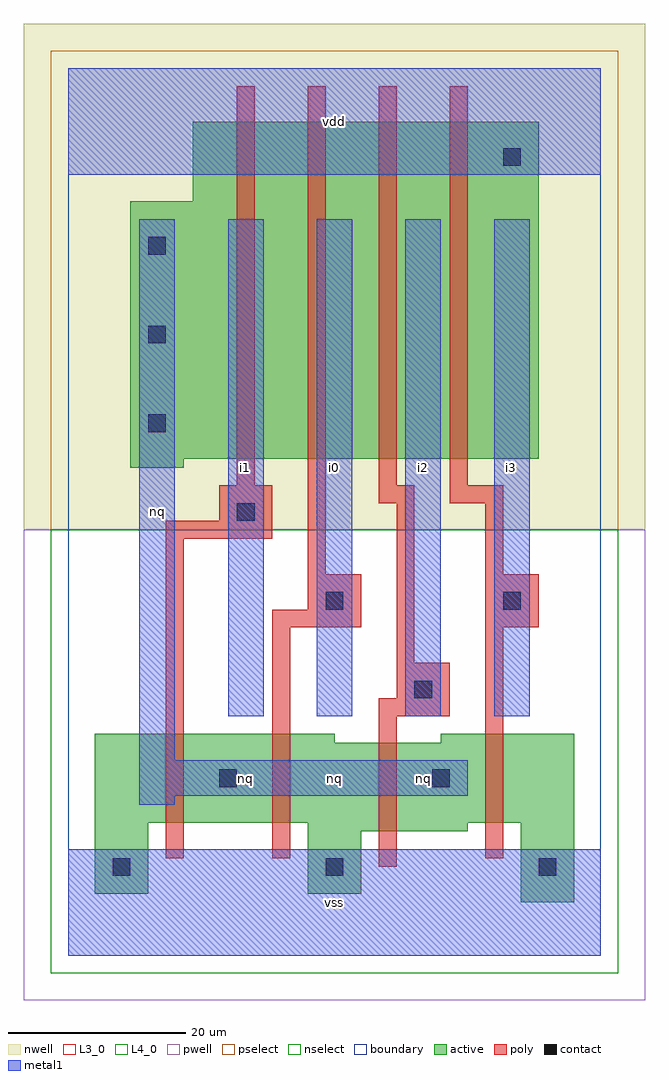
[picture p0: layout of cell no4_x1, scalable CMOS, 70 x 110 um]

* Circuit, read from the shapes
.subckt no4_x1 i0 i1 i2 i3 nq vdd vss
M1 nq i1 vss VSUBS nfet w=10u l=2u
M2 vss i0 nq VSUBS nfet w=10u l=2u
M3 nq i2 vss VSUBS nfet w=10u l=2u
M4 vss i3 nq VSUBS nfet w=10u l=2u
M5 n1 i1 nq n2 pfet w=38u l=2u
M6 n3 i0 n1 n2 pfet w=38u l=2u
M7 n4 i2 n3 n2 pfet w=38u l=2u
M8 vdd i3 n4 n2 pfet w=38u l=2u
.ends

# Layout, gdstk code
import gdstk
lib = gdstk.Library(unit=1e-6, precision=1e-09)
def R(c, l, rs):  # rectangles x0, y0, x1, y1
    for r in rs: c.add(gdstk.rectangle(r[:2], r[2:], *l))
def A(c, l, x, y, w, h, nx, ny, dx, dy):  # array of equal rectangles
    R(c, l, [(x+i*dx, y+j*dy, x+i*dx+w, y+j*dy+h) for i in range(nx) for j in range(ny)])
L3_0 = (3, 0)
L4_0 = (4, 0)
contact = (25, 0)
pwell = (41, 0)
nwell = (42, 0)
active = (43, 0)
pselect = (44, 0)
nselect = (45, 0)
poly = (46, 0)
metal1 = (49, 0)
boundary = (63, 0)

no4_x1 = lib.new_cell('no4_x1')
R(no4_x1, L3_0, [(51,6,57,15), (3,7,9,15), (27,7,33,14), (27,14,45,15), (3,15,57,24), (3,24,30,25), (42,24,57,25)])
R(no4_x1, L4_0, [(7,55,13,56), (7,56,53,85), (14,85,53,94)])
A(no4_x1, contact, 5, 9, 2, 2, 3, 1, 24, 0)
A(no4_x1, contact, 9, 59, 2, 2, 1, 3, 0, 10)
R(no4_x1, contact, [(17,19,19,21), (41,19,43,21), (39,29,41,31), (29,39,31,41), (49,39,51,41), (19,49,21,51), (49,89,51,91)])
R(no4_x1, pwell, [(-5,-5,65,48)])
R(no4_x1, nwell, [(-5,48,65,105)])
R(no4_x1, active, [(51,6,57,15), (3,7,9,15), (27,7,33,14), (27,14,45,15), (3,15,57,24), (3,24,30,25), (42,24,57,25), (7,55,13,56), (7,56,53,85), (14,85,53,94)])
R(no4_x1, pselect, [(-2,48,62,102)])
R(no4_x1, nselect, [(-2,-2,62,48)])
R(no4_x1, poly, [(35,10,37,27), (11,11,13,47), (23,11,25,37), (47,11,49,37), (35,27,43,29), (37,29,43,33), (37,33,39,51), (23,37,33,39), (47,37,53,43), (27,39,33,43), (27,43,29,98), (47,43,49,51), (11,47,23,49), (17,49,23,53), (35,51,39,53), (43,51,49,53), (19,53,21,98), (35,53,37,98), (43,53,45,98)])
A(no4_x1, metal1, 18, 27, 4, 56, 4, 1, 10, 0)
R(no4_x1, metal1, [(0,0,60,12), (8,17,12,18), (8,18,45,22), (8,22,12,83), (0,88,60,100)])
R(no4_x1, boundary, [(0,0,60,100)])
no4_x1.add(gdstk.Label('nq', (10,50), layer=49, texttype=0))
no4_x1.add(gdstk.Label('nq', (20,20), layer=49, texttype=0))
no4_x1.add(gdstk.Label('i1', (20,55), layer=49, texttype=0))
no4_x1.add(gdstk.Label('nq', (30,20), layer=49, texttype=0))
no4_x1.add(gdstk.Label('vss', (30,6), layer=49, texttype=0))
no4_x1.add(gdstk.Label('nq', (40,20), layer=49, texttype=0))
no4_x1.add(gdstk.Label('i0', (30,55), layer=49, texttype=0))
no4_x1.add(gdstk.Label('i2', (40,55), layer=49, texttype=0))
no4_x1.add(gdstk.Label('vdd', (30,94), layer=49, texttype=0))
no4_x1.add(gdstk.Label('i3', (50,55), layer=49, texttype=0))

lib.write_gds('no4_x1.gds')
